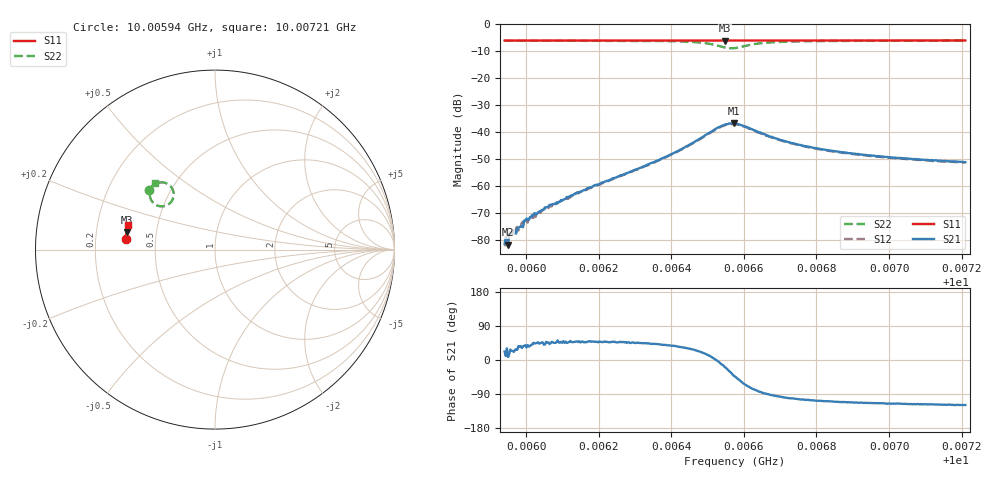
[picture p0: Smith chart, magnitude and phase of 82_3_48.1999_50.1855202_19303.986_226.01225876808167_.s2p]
#  HZ  S  RI  R  50.00
! Rohde & Schwarz Vector Network Analyzer
! Rohde-Schwarz,ZNB20-2Port,1311601062101988,3.16
! Created: UTC 3/20/2024, 11:39:44 AM
! freq[Hz]  re:S11  im:S11  re:S21  im:S21  re:S12  im:S12  re:S22  im:S22
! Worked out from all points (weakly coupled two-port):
!   401 points, 10.00594 GHz to 10.00721 GHz, reference 50 ohm
!   highest |S21| = -36.73 dB at 10.00657 GHz (marker M1); lowest = -81.7 dB at 10.00595 GHz (marker M2)
!   lowest |S11| = -6.0 dB at 10.00655 GHz (marker M3), VSWR 3.01, Z = 16.8 + j4.37 ohm
!   |S11| at or under -10 dB: nowhere
!   |S22| runs from -8.9 to -6.0 dB; largest |S21 - S12| = 0.001
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1.000594e10  -0.498 0.0586  7.93e-05 3.23e-05  7.51e-05 1.56e-05  -0.3697 0.3341
1.000595e10  -0.498 0.0591  8.1e-05 1.12e-05  0.000125 2.77e-05  -0.3692 0.3347
1.0005963e10  -0.498 0.0602  0.000117 5.19e-05  0.000146 4.52e-05  -0.3684 0.3355
1.0005969e10  -0.4979 0.0606  0.000135 6.7e-05  0.000118 6.35e-05  -0.368 0.3359
1.0005972e10  -0.4978 0.0606  0.000115 6.32e-05  0.000145 8.26e-05  -0.3678 0.3362
1.0005994e10  -0.4977 0.0622  0.000182 0.000139  0.000126 0.00014  -0.3666 0.3377
1.0006001e10  -0.4978 0.0625  0.00021 0.000137  0.000189 0.000128  -0.3663 0.3382
1.0006016e10  -0.4975 0.0637  0.00022 0.000191  0.000165 0.000199  -0.3653 0.3392
1.0006058e10  -0.4973 0.0663  0.000282 0.000293  0.000272 0.000309  -0.3625 0.3421
1.0006153e10  -0.4967 0.0724  0.000524 0.000601  0.000473 0.000617  -0.3553 0.3492
1.0006366e10  -0.4947 0.0864  0.00228 0.00203  0.00218 0.00209  -0.3262 0.3688
1.0006432e10  -0.4939 0.0908  0.00426 0.00276  0.00401 0.00288  -0.3037 0.3745
1.0006486e10  -0.493 0.0942  0.0077 0.00267  0.0074 0.00298  -0.2684 0.3682
1.0006547e10  -0.4915 0.0977  0.0131 -0.00427  0.013 -0.00343  -0.2312 0.2941
1.0006572e10  -0.4914 0.0986  0.0109 -0.0097  0.011 -0.00868  -0.2614 0.2505
1.0006575e10  -0.4916 0.0987  0.0105 -0.00995  0.0107 -0.00909  -0.2674 0.2473
1.0006645e10  -0.4917 0.103  0.00102 -0.00984  0.0014 -0.00951  -0.3538 0.2733
1.0006706e10  -0.4913 0.107  -0.000962 -0.00697  -0.000619 -0.00687  -0.3634 0.3066
1.0006788e10  -0.4903 0.1123  -0.00144 -0.00498  -0.00122 -0.00495  -0.3598 0.3304
1.000689e10  -0.489 0.119  -0.00148 -0.0038  -0.00134 -0.0038  -0.3528 0.3465
1.0007001e10  -0.4875 0.126  -0.00145 -0.00309  -0.00125 -0.00312  -0.3453 0.3578
1.0007211e10  -0.4843 0.1392  -0.00133 -0.00243  -0.00117 -0.00244  -0.333 0.373
